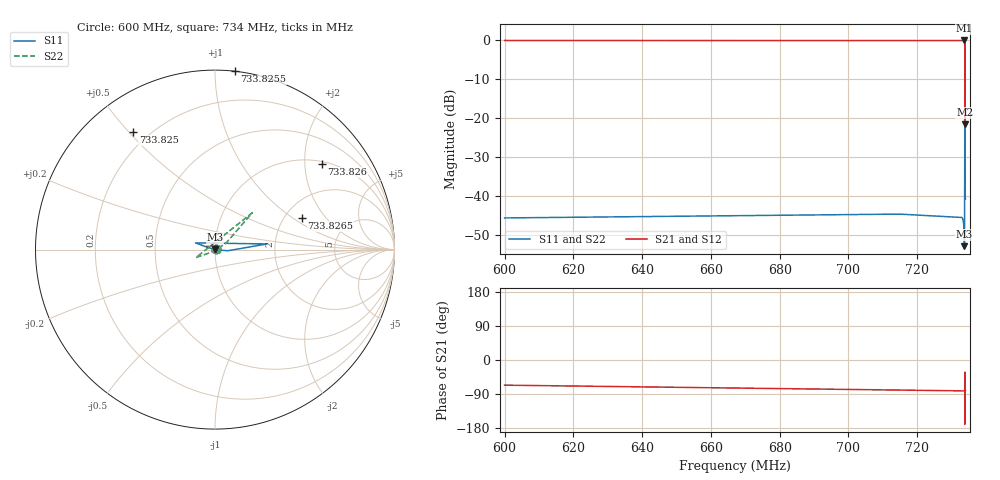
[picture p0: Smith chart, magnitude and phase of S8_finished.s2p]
! Sonnet Data File
! From: em Version : 14.54
! From Project: S8_truegapdistance_nofastfill_gk2
! Data is De-embedded
! Data File Written: 10/05/2014 05:00:25
!< ->  _gk:
!< ->  cell size to 15 x 15 um
!< ->  all polygons to default mesh (staircase, Xmin/Ymin = 1, Xmax/Ymax=100)
!< ->  created Tech Layers
!< ->  MHz
!< ->  enabled current density
!< ->  changed to freq sweep combination
!< ->  polygon edge checking set to 2
!< ->  Q-factor accuracy disable
!< ->  Box Resonace Info disables
!< ->  ABS caching to multisweep
!< ->  ABS freq resolution to 5e-5 MHz
!< ->  slightly enlarged the box size to make it composite number of cells
!< ->  set a fixed cal length of 3000um  to limit cal standard memory
!< ->  _gk2:
!< ->  lossless dielectric layers for lossless model
!< ->  disabled current density
!< HDATE 09/27/2014 19:31:57
!< MDATE 10/05/2014 00:28:30
# MHZ S RI R 50.00000
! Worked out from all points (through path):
!   22004 points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, 600 MHz to 734 MHz, reference 50 ohm
!   highest |S21| = 0.00 dB at 733.721 MHz (marker M1); lowest = -21.5 dB at 733.8255 MHz (marker M2)
!   lowest |S11| = -52.8 dB at 733.7195 MHz (marker M3), VSWR 1.00, Z = 50 + j0.226 ohm
!   |S11| at or under -10 dB: start of sweep to 733.8236 MHz; 733.8273 MHz to end of sweep
!   |S22| runs from -52.8 to 0.0 dB; largest |S21 - S12| = 1.3e-08
!   S11 on the Smith chart (normalised r, x): 600 MHz: 1.01, +0.00; 733.825 MHz: 0.14, +0.51; 733.8255 MHz: -0.00, +1.12; 733.826 MHz: 1.06, +2.43; 733.8265 MHz: 2.46, +1.19; 734 MHz: 1.02, +0.00
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600  0.00477 0.00231  0.4003 -0.9164  0.4003 -0.9164  0.00493 0.00193
!< P1 F=600.0 Eeff=(7.06520015 0.0) Z0=(50.9569378 0.0) R=3.1135e-5 C=0.14312849
!< P2 F=600.0 Eeff=(7.06520015 0.0) Z0=(50.9569378 0.0) R=3.1135e-5 C=0.14312849
700.0135  0.00566 0.00153  0.2168 -0.9762  0.2168 -0.9762  0.00577 0.00101
705  0.00569 0.00149  0.2074 -0.9782  0.2074 -0.9782  0.00581 0.000951
705.055  0.00569 0.00149  0.2073 -0.9783  0.2073 -0.9783  0.00581 0.00095
711.667  0.00574 0.00143  0.1948 -0.9808  0.1948 -0.9808  0.00585 0.000875
733  0.00521 0.00134  0.1535 -0.9881  0.1535 -0.9881  0.00538 0.000302
733.47  0.00429 0.00151  0.1517 -0.9884  0.1517 -0.9884  0.00454 -0.000158
733.589  0.00346 0.00167  0.1506 -0.9886  0.1506 -0.9886  0.0038 -0.000561
733.688  0.0017 0.00201  0.1487 -0.9889  0.1487 -0.9889  0.00222 -0.00142
733.7195  0.00045 0.00226  0.1473 -0.9891  0.1473 -0.9891  0.00109 -0.00203
733.721  0.000371 0.00227  0.1473 -0.9891  0.1473 -0.9891  0.00102 -0.00206
733.752  -0.00196 0.00274  0.1448 -0.9895  0.1448 -0.9895  -0.0011 -0.00319
733.7885  -0.00974 0.00439  0.1369 -0.9905  0.1369 -0.9905  -0.00819 -0.00686
733.825  -0.4547 0.6553  -0.5027 -0.5261  -0.5027 -0.5261  -0.7684 0.2159
733.8255  0.1113 0.9946  -0.0829 -0.0151  -0.0829 -0.0151  -0.5444 0.8398
733.826  0.5939 0.4785  0.5467 -0.3396  0.5467 -0.3396  0.1593 0.7458
733.8265  0.4832 0.1768  0.544 -0.6616  0.544 -0.6616  0.2653 0.4409
733.861  0.0223 -0.00156  0.169 -0.9854  0.169 -0.9854  0.0205 0.0089
733.8745  0.0178 -0.000858  0.1645 -0.9862  0.1645 -0.9862  0.0165 0.00659
733.8915  0.0147 -0.000356  0.1614 -0.9868  0.1614 -0.9868  0.0139 0.00504
733.9115  0.0127 -9.1e-06  0.1593 -0.9872  0.1593 -0.9872  0.012 0.004
734  0.00926 0.000591  0.1557 -0.9878  0.1557 -0.9878  0.00899 0.00229
